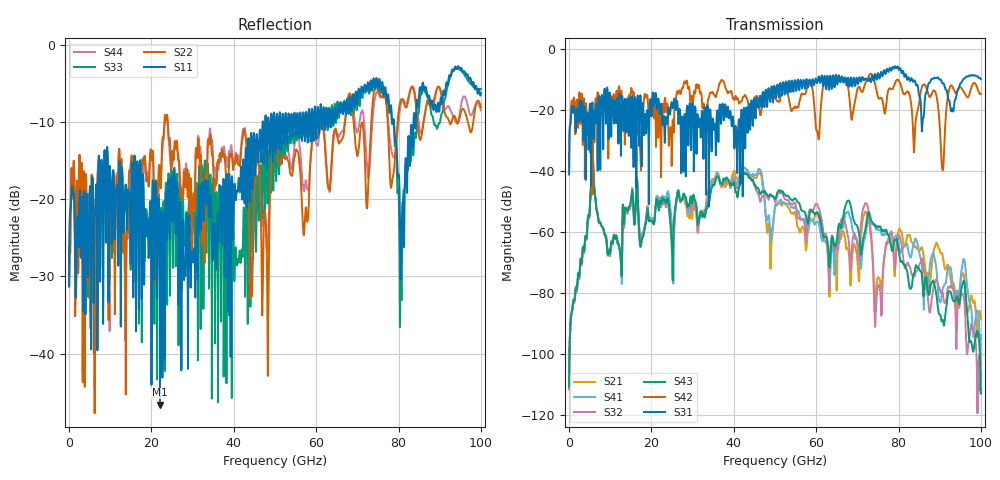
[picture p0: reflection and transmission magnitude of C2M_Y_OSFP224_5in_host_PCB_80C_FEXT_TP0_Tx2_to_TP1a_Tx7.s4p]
# GHz S RI R 45
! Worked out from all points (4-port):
!   4000 points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, 25 MHz to 100 GHz, reference 45 ohm
!   strongest paths, dB at 25 MHz, 25.02 GHz, 50.02 GHz, 75.03 GHz, 100 GHz:
!     S31: -41.0, -17.7, -13.1, -7.8, -9.7
!     S42: -39.6, -28.1, -16.1, -15.6, -14.6
!     S43: -110.7, -67.0, -49.0, -57.9, -112.7
!     S32: -111.6, -62.1, -49.8, -77.4, -103.8
!     S41: -110.3, -57.9, -51.9, -59.0, -93.7
!     S21: -110.9, -57.2, -51.5, -74.7, -88.5
!   lowest |S11| = -46.6 dB at 22.07 GHz (marker M1), VSWR 1.01, Z = 44.6 - j0.207 ohm
!   |S11| at or under -10 dB: start of sweep to 47.01 GHz; 47.09 GHz to 47.6 GHz (508 MHz wide, 1.07 % of centre); 78.91 GHz to 83.63 GHz (4.727 GHz wide, 5.82 % of centre) (the widest 3 of 29)
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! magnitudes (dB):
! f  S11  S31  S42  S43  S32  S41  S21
! 25 MHz  -31.3  -41.0  -39.6  -110.7  -111.6  -110.3  -110.9
! 5.725 GHz  -17.3  -17.8  -37.6  -40.4  -40.5  -40.3  -40.5
! 12.4 GHz  -17.2  -15.6  -16.1  -66.4  -66.0  -66.4  -66.2
! 22.07 GHz  -46.6  -21.2  -22.4  -49.7  -49.7  -48.8  -48.7
! 73.3 GHz  -4.7  -10.7  -7.9  -55.9  -59.8  -57.2  -61.7
! 90.67 GHz  -7.2  -11.1  -39.5  -88.7  -79.6  -78.9  -67.3
! 100 GHz  -6.3  -9.7  -14.6  -112.7  -103.8  -93.7  -88.5
